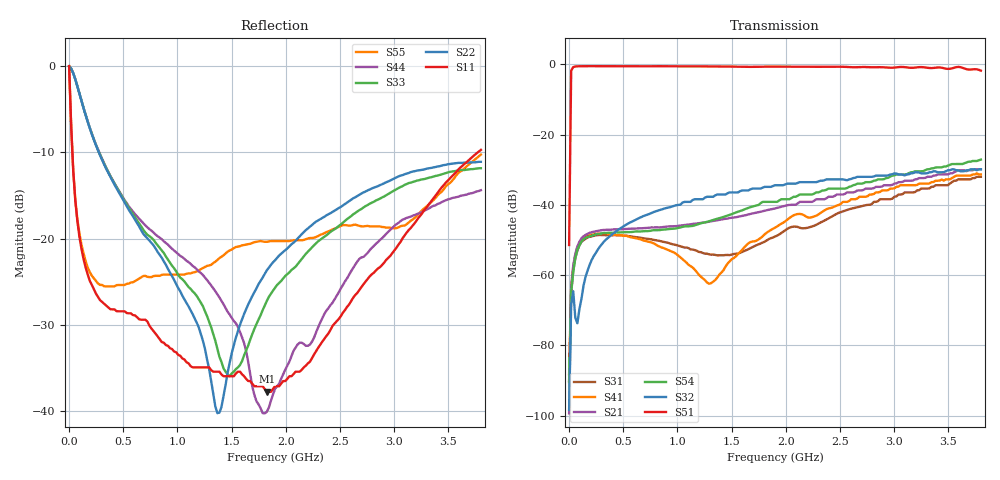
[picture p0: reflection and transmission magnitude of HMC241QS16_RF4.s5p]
! Hittite Microwave Corporation
! 20 Alpha Road
! Chelmsford, MA 01824
! Tel: 978-250-3343
! Fax: 978-250-3373
! Device: HMC241QS16, DC-3.5 GHz GaAs MMIC SP4T Non-Reflective Switch in 16 lead QSOP package
! Misc: Data was de-embedded to package pins.
!  Port 1 = RFC
!  Port 2 = RF1
!  Port 3 = RF2
!  Port 4 = RF3
!  Port 5 = RF4
!  Vdd  = + 5 V
!  RF4 selected, Vctl= 0/+5 V
!  Data reformated to new Touchstone file format - Tue Jan 09 10:11:19 2007
# MHz S DB R 50
! 5 Port Network Data
! freq  dbS11  angS11  dbS12  angS12  dbS13  angS13  dbS14  angS14
!  dbS15  angS15
!  dbS21  angS21  dbS22  angS22  dbS23  angS23
!  dbS24  angS24  dbS25  angS25
!  dbS31  angS31  dbS32  angS32
!  dbS33  angS33  dbS34  angS34  dbS35  angS35
!  dbS41  angS41
!  dbS42  angS42  dbS43  angS43  dbS44  angS44  dbS45  angS45
!  dbS51  angS51  dbS52  angS52  dbS53  angS53  dbS54  angS54
!  dbS55  angS55
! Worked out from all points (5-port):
!   201 points, 30 kHz to 3.8 GHz, reference 50 ohm
!   strongest paths, dB at 30 kHz, 950 MHz, 1.9 GHz, 2.85 GHz, 3.8 GHz:
!     S51: -51.4, -0.6, -0.7, -0.8, -1.8
!     S32: -98.4, -40.5, -34.4, -31.7, -29.9
!     S54: -90.5, -46.8, -39.2, -32.8, -27.1
!     S21: -99.3, -46.1, -41.0, -34.9, -29.9
!     S41: -88.2, -53.3, -46.5, -36.5, -31.4
!     S31: -90.1, -51.2, -49.1, -39.0, -32.0
!   lowest |S11| = -37.7 dB at 1.824 GHz (marker M1), VSWR 1.03, Z = 49.1 - j0.962 ohm
!   |S11| at or under -10 dB: 30.27 MHz to 3.771 GHz (3.74 GHz wide, 197 % of centre)
